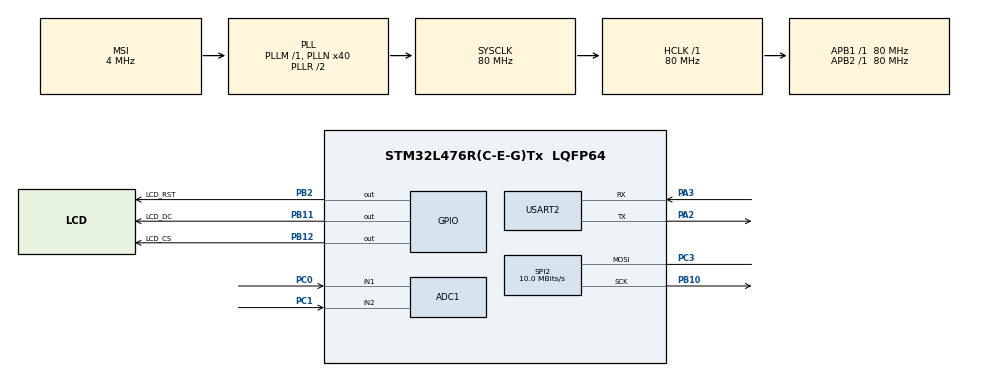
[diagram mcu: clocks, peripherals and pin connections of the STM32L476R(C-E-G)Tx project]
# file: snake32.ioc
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ADC1.Channel-0\#ChannelRegularConversion=ADC_CHANNEL_1
ADC1.Channel-1\#ChannelRegularConversion=ADC_CHANNEL_2
ADC1.ContinuousConvMode=ENABLE
ADC1.DMAContinuousRequests=ENABLE
ADC1.NbrOfConversion=2
ADC1.NbrOfConversionFlag=1
ADC1.OffsetNumber-0\#ChannelRegularConversion=ADC_OFFSET_NONE
ADC1.OffsetNumber-1\#ChannelRegularConversion=ADC_OFFSET_NONE
ADC1.Overrun=ADC_OVR_DATA_OVERWRITTEN
ADC1.Rank-0\#ChannelRegularConversion=1
ADC1.Rank-1\#ChannelRegularConversion=2
ADC1.SamplingTime-0\#ChannelRegularConversion=ADC_SAMPLETIME_640CYCLES_5
ADC1.SamplingTime-1\#ChannelRegularConversion=ADC_SAMPLETIME_640CYCLES_5
ADC1.master=1
Dma.ADC1.0.Direction=DMA_PERIPH_TO_MEMORY
Dma.ADC1.0.Instance=DMA1_Channel1
Dma.ADC1.0.MemDataAlignment=DMA_MDATAALIGN_HALFWORD
Dma.ADC1.0.MemInc=DMA_MINC_ENABLE
Dma.ADC1.0.Mode=DMA_CIRCULAR
Dma.ADC1.0.PeriphDataAlignment=DMA_PDATAALIGN_HALFWORD
Dma.ADC1.0.PeriphInc=DMA_PINC_DISABLE
Dma.ADC1.0.Priority=DMA_PRIORITY_LOW
Dma.Request0=ADC1
Mcu.Family=STM32L4
Mcu.Name=STM32L476R(C-E-G)Tx
Mcu.Package=LQFP64
NVIC.PriorityGroup=NVIC_PRIORITYGROUP_4
PA2.Mode=Asynchronous
PA2.Signal=USART2_TX
PA3.Mode=Asynchronous
PA3.Signal=USART2_RX
PB10.Mode=Simplex_Bidirectional_Master
PB10.Signal=SPI2_SCK
PB11.GPIO_Label=LCD_DC
PB11.Signal=GPIO_Output
PB12.GPIO_Label=LCD_CS
PB12.Signal=GPIO_Output
PB2.GPIO_Label=LCD_RST
PB2.Signal=GPIO_Output
PC0.Signal=ADCx_IN1
PC1.Signal=ADCx_IN2
PC3.Mode=Simplex_Bidirectional_Master
PC3.Signal=SPI2_MOSI
ProjectManager.HeapSize=0x200
ProjectManager.StackSize=0x400
ProjectManager.TargetToolchain=STM32CubeIDE
RCC.ADCFreq_Value=32000000
RCC.AHBFreq_Value=80000000
RCC.APB1Freq_Value=80000000
RCC.APB1TimFreq_Value=80000000
RCC.APB2Freq_Value=80000000
RCC.APB2TimFreq_Value=80000000
RCC.CortexFreq_Value=80000000
RCC.HCLKFreq_Value=80000000
RCC.HSE_VALUE=8000000
RCC.HSI_VALUE=16000000
RCC.LSE_VALUE=32768
RCC.MSI_VALUE=4000000
RCC.PLLN=40
RCC.PLLSAI1N=16
RCC.SYSCLKFreq_VALUE=80000000
RCC.SYSCLKSource=RCC_SYSCLKSOURCE_PLLCLK
RCC.USBFreq_Value=32000000
RCC.VCOOutputFreq_Value=160000000
SH.ADCx_IN1.0=ADC1_IN1,IN1-Single-Ended
SH.ADCx_IN2.0=ADC1_IN2,IN2-Single-Ended
SPI2.BaudRatePrescaler=SPI_BAUDRATEPRESCALER_8
SPI2.CalculateBaudRate=10.0 MBits/s
SPI2.DataSize=SPI_DATASIZE_8BIT
SPI2.Direction=SPI_DIRECTION_1LINE
SPI2.Mode=SPI_MODE_MASTER
SPI2.VirtualType=VM_MASTER
USART2.VirtualMode-Asynchronous=VM_ASYNC
board=custom

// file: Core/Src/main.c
/* USER CODE BEGIN Header */
/**
  ******************************************************************************
  * @file           : main.c
  * @brief          : Main program body
  ******************************************************************************
  * @attention
  *
  * <h2><center>&copy; Copyright (c) 2021 STMicroelectronics.
  * All rights reserved.</center></h2>
  *
  * This software component is licensed by ST under BSD 3-Clause license,
  * the "License"; You may not use this file except in compliance with the
  * License. You may obtain a copy of the License at:
  *                        opensource.org/licenses/BSD-3-Clause
  *
  ******************************************************************************
  */
/* USER CODE END Header */
#include "main.h"
#include "adc.h"
#include "dma.h"
#include "spi.h"
#include "usart.h"
#include "gpio.h"

/* USER CODE BEGIN Includes */
#include "math.h"
#include "snake.h"
#include "lcd.h"
#include "time.h"
/* USER CODE END Includes */

void SystemClock_Config(void);

/* USER CODE BEGIN 0 */
int __io_putchar(int ch)
{
  if (ch == '\n') {
    __io_putchar('\r');
  }

  HAL_UART_Transmit(&huart2, (uint8_t*)&ch, 1, HAL_MAX_DELAY);

  return 1;
}

/* USER CODE END 0 */

int main(void)
{

  /* MCU Configuration--------------------------------------------------------*/

  /* Reset of all peripherals, Initializes the Flash interface and the Systick. */
  HAL_Init();

  /* Configure the system clock */
  SystemClock_Config();

  /* Initialize all configured peripherals */
  MX_GPIO_Init();
  MX_DMA_Init();
  MX_ADC1_Init();
  MX_USART2_UART_Init();
  MX_SPI2_Init();

  /* Infinite loop */
  /* USER CODE BEGIN WHILE */

  volatile static uint16_t value[2];

  HAL_ADCEx_Calibration_Start(&hadc1, ADC_SINGLE_ENDED);
  HAL_ADC_Start_DMA(&hadc1, (uint32_t*)value, 2);

  enum UserInput user_input = RIGHT;
  enum UserInput prev_user_input = RIGHT;

  srand(time(NULL));
  lcd_init();

  while (1)
  {
	  //Read from DMA ADC input from joystick
	  get_user_input(&value, &user_input);

	  //fill lcd bufor with white pixels
	  flush_bufor();

	  //insert snake body parts
	  insert_snake();

	  //insert apple
	  insert_apple();

	 if(user_input==RIGHT && prev_user_input!=LEFT) {dx=5;  dy=0;  prev_user_input=user_input;}
	 if(user_input==UP && prev_user_input!=DOWN)    {dx=0;  dy=-5; prev_user_input=user_input;}
	 if(user_input==LEFT && prev_user_input!=RIGHT) {dx=-5; dy=0;  prev_user_input=user_input;}
	 if(user_input==DOWN && prev_user_input!=UP)    {dx=0;  dy=5;  prev_user_input=user_input;}

	snake[0].x += dx;
	check_for_colison_x();

	snake[0].y += dy;
	check_for_colison_y();

	 //if snake ate apple, make him longer and spawn new apple
	 if( GetDist(&snake[0],&apple) <=5 )
	 {
		 snake_len++;

		 apple.x= rand()%(LCD_WIDTH-10)+5;
		 apple.y= rand()%(LCD_HEIGHT-10)+5;
	 }

	 check_for_end();
	 snake_follow();

	 //send buffor to lcd
	 lcd_copy();

    /* USER CODE END WHILE */

  }
}

void SystemClock_Config(void)
{
  RCC_OscInitTypeDef RCC_OscInitStruct = {0};
  RCC_ClkInitTypeDef RCC_ClkInitStruct = {0};

  /** Configure the main internal regulator output voltage
  */
  if (HAL_PWREx_ControlVoltageScaling(PWR_REGULATOR_VOLTAGE_SCALE1) != HAL_OK)
  {
    Error_Handler();
  }
  /** Initializes the RCC Oscillators according to the specified parameters
  * in the RCC_OscInitTypeDef structure.
  */
  RCC_OscInitStruct.OscillatorType = RCC_OSCILLATORTYPE_MSI;
  RCC_OscInitStruct.MSIState = RCC_MSI_ON;
  RCC_OscInitStruct.MSICalibrationValue = 0;
  RCC_OscInitStruct.MSIClockRange = RCC_MSIRANGE_6;
  RCC_OscInitStruct.PLL.PLLState = RCC_PLL_ON;
  RCC_OscInitStruct.PLL.PLLSource = RCC_PLLSOURCE_MSI;
  RCC_OscInitStruct.PLL.PLLM = 1;
  RCC_OscInitStruct.PLL.PLLN = 40;
  RCC_OscInitStruct.PLL.PLLP = RCC_PLLP_DIV7;
  RCC_OscInitStruct.PLL.PLLQ = RCC_PLLQ_DIV2;
  RCC_OscInitStruct.PLL.PLLR = RCC_PLLR_DIV2;
  if (HAL_RCC_OscConfig(&RCC_OscInitStruct) != HAL_OK)
  {
    Error_Handler();
  }
  /** Initializes the CPU, AHB and APB buses clocks
  */
  RCC_ClkInitStruct.ClockType = RCC_CLOCKTYPE_HCLK|RCC_CLOCKTYPE_SYSCLK
                              |RCC_CLOCKTYPE_PCLK1|RCC_CLOCKTYPE_PCLK2;
  RCC_ClkInitStruct.SYSCLKSource = RCC_SYSCLKSOURCE_PLLCLK;
  RCC_ClkInitStruct.AHBCLKDivider = RCC_SYSCLK_DIV1;
  RCC_ClkInitStruct.APB1CLKDivider = RCC_HCLK_DIV1;
  RCC_ClkInitStruct.APB2CLKDivider = RCC_HCLK_DIV1;

  if (HAL_RCC_ClockConfig(&RCC_ClkInitStruct, FLASH_LATENCY_4) != HAL_OK)
  {
    Error_Handler();
  }
}

void Error_Handler(void)
{
  __disable_irq();
  while (1)
  {
  }
}

/************************ (C) COPYRIGHT STMicroelectronics *****END OF FILE****/
